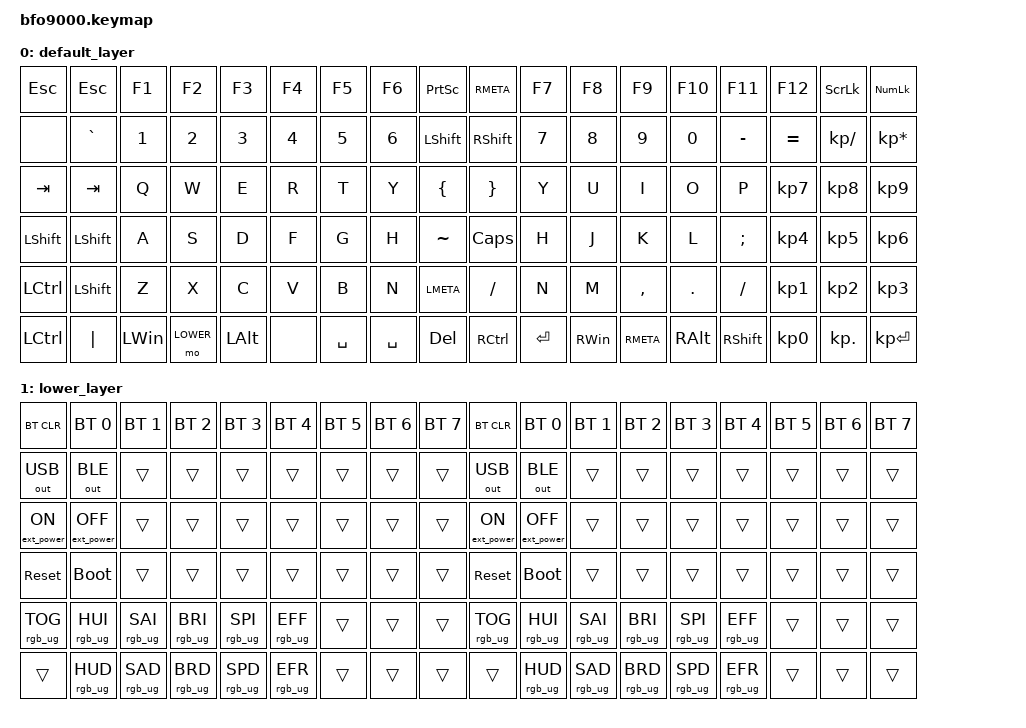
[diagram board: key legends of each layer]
/*
 * Copyright (c) 2020 The ZMK Contributors
 *
 * SPDX-License-Identifier: MIT
 */

#include <behaviors.dtsi>
#include <dt-bindings/zmk/keys.h>
#include <dt-bindings/zmk/bt.h>
#include <dt-bindings/zmk/outputs.h>
#include <dt-bindings/zmk/ext_power.h>
#include <dt-bindings/zmk/rgb.h>

#define DEFAULT 0
#define LOWER   1

/ {
	keymap {
		compatible = "zmk,keymap";

		default_layer {
   			// | NumLk  | Esc   | F1    | F2    | F3    | F4    | F5    | F6    | --    | --    | F7    | F8    | F9    | F10   | F11   | F12   | PrtScr| ---   |
			// | /      | *     | 1     | 2     | 3     | 4     | 5     | 6     | `~    | --    | 7     | 8     | 9     | 0     | -     | =     | ScrlLk| Del   |
			// | 7 Home | 8 Up  | 9 PgUp| Q     | W     | E     | R     | T     | [{    | }]     | Y   | U   | I   | O   | P    | [     | ]     | \      |
			// | 4 Left | 5     |6 Right| A     | S     | D     | F     | G     | --    | -      | H   | J   | K   | L   | ;    | '     | ~#    | -----  |
			// | 1 End  | 2 Down| 3 PgDn| Z     | X     | C     | V     | B     | --    | -      | N   | M   | ,   | .   | /    | \     | Up    |        |
			// | 0 Ins  | . Del | ----- | ----  | ---   | ---   | Win   | Spc   | Ctrl  | Fn     |Enter| Alt | --- | --- | ---- | Left  | Dn    | Right  |
			bindings = <
			&kp ESC     &kp ESC     &kp F1  &kp F2  &kp F3   &kp F4    &kp F5  &kp F6  &kp PSCRN       &kp RMETA   &kp F7  &kp F8   &kp F9    &kp F10  &kp F11     &kp F12     &kp SLCK &kp KP_NUMLOCK
			&none       &kp GRAVE 	&kp N1  &kp N2  &kp N3   &kp N4    &kp N5  &kp N6  &kp LSHFT       &kp RSHFT   &kp N7  &kp N8   &kp N9    &kp N0   &kp MINUS   &kp EQUAL &kp KP_DIVIDE &kp KP_MULTIPLY
			&kp TAB     &kp TAB	    &kp Q   &kp W    &kp E     &kp R   &kp T &kp Y &kp LEFT_BRACE      &kp RIGHT_BRACE &kp Y   &kp U    &kp I     &kp O    &kp P       &kp KP_N7    &kp KP_N8  &kp KP_N9
			&kp LSHFT   &kp LSHFT      &kp A   &kp S    &kp D     &kp F   &kp G   &kp H  &kp TILDE                &kp CAPS &kp H  &kp J    &kp K     &kp L    &kp SEMI    &kp KP_N4    &kp KP_N5  &kp KP_N6
			&kp LCTRL   &kp LSHFT   &kp Z   &kp X    &kp C     &kp V   &kp B   &kp N   &kp LMETA            &kp FSLH    &kp N   &kp M    &kp COMMA &kp DOT  &kp SLASH   &kp KP_N1    &kp KP_N2  &kp KP_N3
			&kp LCTRL   &kp PIPE   &kp LWIN  &mo LOWER &kp LALT &none &kp SPACE &kp SPACE &kp DEL     &kp RCTRL &kp ENTER &kp RWIN &kp RMETA &kp RALT &kp RSHFT   &kp KP_N0    &kp KP_DOT  &kp KP_ENTER
			>;
		};

		lower_layer {
			// | | | | | | | | | | | | | | | | | | |
			// | | | | | | | | | | | | | | | | | | |
			// | | | | | | | | | | | | | | | | | | |
			// | | | | | | | | | | | | | | | | | | |
			// | | | | | | | | | | | | | | | | | | |
			// | | | | | | | | | | | | | | | | | | |
			bindings = <
			&bt BT_CLR       &bt BT_SEL 0      &bt BT_SEL 1    &bt BT_SEL 2    &bt BT_SEL 3    &bt BT_SEL 4    &bt BT_SEL 5 &bt BT_SEL 6 &bt BT_SEL 7 &bt BT_CLR       &bt BT_SEL 0      &bt BT_SEL 1    &bt BT_SEL 2    &bt BT_SEL 3    &bt BT_SEL 4    &bt BT_SEL 5 &bt BT_SEL 6 &bt BT_SEL 7
			&out OUT_USB     &out OUT_BLE      &trans          &trans          &trans          &trans          &trans       &trans       &trans       &out OUT_USB     &out OUT_BLE      &trans          &trans          &trans          &trans          &trans       &trans       &trans
			&ext_power EP_ON &ext_power EP_OFF &trans          &trans          &trans          &trans          &trans       &trans       &trans       &ext_power EP_ON &ext_power EP_OFF &trans          &trans          &trans          &trans          &trans       &trans       &trans
			&sys_reset           &bootloader       &trans          &trans          &trans          &trans          &trans       &trans       &trans       &sys_reset       &bootloader       &trans          &trans          &trans          &trans          &trans       &trans       &trans
			&rgb_ug RGB_TOG  &rgb_ug RGB_HUI   &rgb_ug RGB_SAI &rgb_ug RGB_BRI &rgb_ug RGB_SPI &rgb_ug RGB_EFF &trans       &trans       &trans       &rgb_ug RGB_TOG  &rgb_ug RGB_HUI   &rgb_ug RGB_SAI &rgb_ug RGB_BRI &rgb_ug RGB_SPI &rgb_ug RGB_EFF &trans       &trans       &trans
			&trans           &rgb_ug RGB_HUD   &rgb_ug RGB_SAD &rgb_ug RGB_BRD &rgb_ug RGB_SPD &rgb_ug RGB_EFR &trans       &trans       &trans       &trans           &rgb_ug RGB_HUD   &rgb_ug RGB_SAD &rgb_ug RGB_BRD &rgb_ug RGB_SPD &rgb_ug RGB_EFR &trans       &trans       &trans
			>;
		};
	};
};
